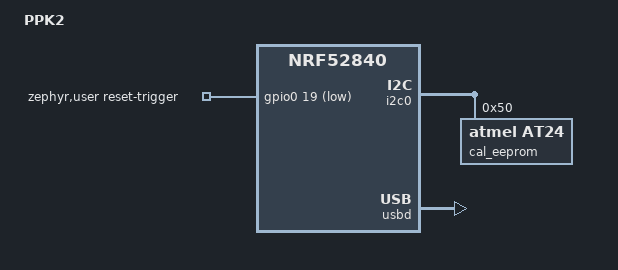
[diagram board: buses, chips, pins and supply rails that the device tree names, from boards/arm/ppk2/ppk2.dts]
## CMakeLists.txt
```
# SPDX-License-Identifier: Apache-2.0

cmake_minimum_required(VERSION 3.20.0)

set(BOARD_ROOT ${CMAKE_CURRENT_LIST_DIR})
set(BOARD ppk2)

find_package(Zephyr REQUIRED HINTS $ENV{ZEPHYR_BASE})
project(ppk2-eeprom)

target_sources(app PRIVATE src/main.c)
```

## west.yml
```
manifest:
  remotes:
    - name: zephyrproject-rtos
      url-base: https://github.com/zephyrproject-rtos

  projects:
    - name: zephyr
      remote: zephyrproject-rtos
      revision: main
      import:
        name-allowlist:
          - cmsis_6
          - hal_nordic
```

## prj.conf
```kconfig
CONFIG_PICOLIBC=y
CONFIG_CBPRINTF_FP_SUPPORT=y

CONFIG_LOG=y

CONFIG_I2C=y
CONFIG_SHELL=y
CONFIG_EEPROM=y

CONFIG_GPIO_SHELL=y
CONFIG_EEPROM_SHELL=y
```

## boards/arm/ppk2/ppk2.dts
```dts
/*
 * SPDX-License-Identifier: Apache-2.0
 */

/dts-v1/;
#include <nordic/nrf52840_qiaa.dtsi>
#include "ppk2-pinctrl.dtsi"

/ {
	model = "PPK2";
	compatible = "ppk2";

	chosen {
		zephyr,console = &cdc_acm_uart;
		zephyr,shell-uart = &cdc_acm_uart;
		zephyr,sram = &sram0;
		zephyr,flash = &flash0;
	};

	zephyr,user {
		reset-trigger-gpios = <&gpio0 19 GPIO_ACTIVE_LOW>;
	};
};

&uicr {
	nfct-pins-as-gpios;
};

&gpiote {
	status = "okay";
};

&gpio0 {
	status = "okay";
};

&gpio1 {
	status = "okay";
};

&i2c0 {
	compatible = "nordic,nrf-twi";
	status = "okay";
	pinctrl-0 = <&i2c0_default>;
	pinctrl-1 = <&i2c0_sleep>;
	pinctrl-names = "default", "sleep";

        cal_eeprom: eeprom@50 {
                compatible = "atmel,at24";
                reg = <0x50>;
                size = <2048>;
                pagesize = <32>;
                address-width = <16>;
                timeout = <10>;
        };

};

zephyr_udc0: &usbd {
	compatible = "nordic,nrf-usbd";
	status = "okay";

	cdc_acm_uart: cdc_acm_uart {
		compatible = "zephyr,cdc-acm-uart";
	};
};
```

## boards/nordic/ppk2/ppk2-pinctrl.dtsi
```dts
/*
 * SPDX-License-Identifier: Apache-2.0
 */

&pinctrl {
	i2c0_default: i2c0_default {
		group1 {
			psels = <NRF_PSEL(TWIM_SDA, 0, 24)>,
				<NRF_PSEL(TWIM_SCL, 0, 25)>;
		};
	};

	i2c0_sleep: i2c0_sleep {
		group1 {
			psels = <NRF_PSEL(TWIM_SDA, 0, 24)>,
				<NRF_PSEL(TWIM_SCL, 0, 25)>;
			low-power-enable;
		};
	};
};
```

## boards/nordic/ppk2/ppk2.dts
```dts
/*
 * SPDX-License-Identifier: Apache-2.0
 */

/dts-v1/;
#include <nordic/nrf52840_qiaa.dtsi>
#include "ppk2-pinctrl.dtsi"

/ {
	model = "PPK2";
	compatible = "ppk2";

	chosen {
		zephyr,console = &cdc_acm_uart;
		zephyr,shell-uart = &cdc_acm_uart;
		zephyr,sram = &sram0;
		zephyr,flash = &flash0;
	};

	zephyr,user {
		reset-trigger-gpios = <&gpio0 19 GPIO_ACTIVE_LOW>;
	};
};

&uicr {
	nfct-pins-as-gpios;
	gpio-as-nreset;
};

&gpiote {
	status = "okay";
};

&gpio0 {
	status = "okay";
};

&gpio1 {
	status = "okay";
};

&i2c0 {
	compatible = "nordic,nrf-twi";
	status = "okay";
	pinctrl-0 = <&i2c0_default>;
	pinctrl-1 = <&i2c0_sleep>;
	pinctrl-names = "default", "sleep";

        cal_eeprom: eeprom@50 {
                compatible = "atmel,at24";
                reg = <0x50>;
                size = <2048>;
                pagesize = <32>;
                address-width = <16>;
                timeout = <10>;
        };

};

zephyr_udc0: &usbd {
	compatible = "nordic,nrf-usbd";
	status = "okay";

	cdc_acm_uart: cdc_acm_uart {
		compatible = "zephyr,cdc-acm-uart";
	};
};
```

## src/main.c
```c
/*
 * SPDX-License-Identifier: Apache-2.0
 */

#include <stdlib.h>
#include <zephyr/device.h>
#include <zephyr/devicetree.h>
#include <zephyr/drivers/eeprom.h>
#include <zephyr/drivers/gpio.h>
#include <zephyr/kernel.h>
#include <zephyr/shell/shell.h>

#define ZEPHYR_USER_NODE DT_PATH(zephyr_user)

#define EEPROM_BUF_SZ 0x100

static const struct device *cal_eeprom = DEVICE_DT_GET(
		DT_NODELABEL(cal_eeprom));

static struct gpio_dt_spec reset_trigger_gpio = GPIO_DT_SPEC_GET(
		ZEPHYR_USER_NODE, reset_trigger_gpios);

static struct {
	uint8_t off;
	char *name;
} cal_offsets[] = {
	{0, "r0"},
	{4, "r1"},
	{8, "r2"},
	{12, "r3"},
	{16, "r4"},

	{20, "gs0"},
	{24, "gs1"},
	{28, "gs2"},
	{32, "gs3"},
	{36, "gs4"},

	{40, "o0"},
	{44, "o1"},
	{48, "o2"},
	{52, "o3"},
	{56, "o4"},

	{60, "s0"},
	{64, "s1"},
	{68, "s2"},
	{72, "s3"},
	{76, "s4"},

	{80, "i0"},
	{84, "i1"},
	{88, "i2"},
	{92, "i3"},
	{96, "i4"},

	{100, "gi0"},
	{104, "gi1"},
	{108, "gi2"},
	{112, "gi3"},
	{116, "gi4"},

	{128, "ug0"},
	{132, "ug1"},
	{136, "ug2"},
	{140, "ug3"},
	{144, "ug4"},
};

#define OFFSET_COUNT ARRAY_SIZE(cal_offsets)

static int cmd_reset_bl(const struct shell *sh, size_t argc, char **argv)
{
	gpio_pin_configure_dt(&reset_trigger_gpio, GPIO_OUTPUT_ACTIVE);

	return 0;
}
SHELL_CMD_REGISTER(reset_bl, NULL, "Reset into bootloader", cmd_reset_bl);

static int cmd_float_bytes(const struct shell *sh, size_t argc, char **argv)
{
	float f;
	uint8_t *x = (uint8_t *)&f;

	f = strtof(argv[1], NULL);

	shell_print(sh, "float: %.9f", (double)f);
	shell_print(sh, "bytes: %02x %02x %02x %02x", x[0], x[1], x[2], x[3]);
	return 0;
}
SHELL_CMD_ARG_REGISTER(float_bytes, NULL,
		       "Convert a float to bytes\nfloat_bytes <float>",
		       cmd_float_bytes, 2, 0);

static int cmd_cal_read(const struct shell *sh, size_t argc, char **argv)
{
	uint8_t buf[EEPROM_BUF_SZ];
	int err;
	int i;

	err = eeprom_read(cal_eeprom, 0, buf, sizeof(buf));
	if (err) {
		shell_error(sh, "EEPROM read failed (err %d)", err);
		return err;
	}

	for (i = 0; i < OFFSET_COUNT; i++) {
		uint8_t offset;
		float *f;
		uint8_t *x;

		offset = cal_offsets[i].off;

		f = (float *)&buf[offset];
		x = &buf[offset];

		shell_print(sh, "%4s (%3d): %15.9f, %02x %02x %02x %02x",
			    cal_offsets[i].name,
			    offset,
			    (double)*f,
			    x[0], x[1], x[2], x[3]);
	}

	return 0;
}
SHELL_CMD_REGISTER(cal_read, NULL, "Read the calibration values", cmd_cal_read);

static int cmd_cal_write(const struct shell *sh, size_t argc, char **argv)
{
	bool dry_run;
	char *name;
	uint8_t offset;
	float f;
	int i;
	int err;
	uint8_t *x = (uint8_t *)&f;

	dry_run = true;
	if (argc == 4 && strncmp(argv[3], "y", 1) == 0) {
		dry_run = false;
	}

	name = argv[1];

	f = strtof(argv[2], NULL);
	
	for (i = 0; i < OFFSET_COUNT; i++) {
		if (strcmp(name, cal_offsets[i].name) == 0) {
			break;
		}
	}
	if (i == OFFSET_COUNT) {
		shell_error(sh, "invalid argument: %s", name);
		return 0;
	}

	offset = cal_offsets[i].off;

	shell_print(sh, "updating %s (%d) to %.9f, %02x %02x %02x %02x",
		    name,
		    offset,
		    (double)f,
		    x[0], x[1], x[2], x[3]);

	if (dry_run) {
		shell_print(sh, "dry run: add a \"y\" argument to actually write");
		return 0;
	}

	err = eeprom_write(cal_eeprom, offset, x, sizeof(x));
	if (err) {
		shell_error(sh, "EEPROM write failed (err %d)", err);
		return err;
	}

	shell_print(sh, "done");

	return 0;
}

SHELL_CMD_ARG_REGISTER(cal_write, NULL,
		       "Write a calibration file\ncal_write <name> <val> [y]",
		       cmd_cal_write, 3, 1);
```
